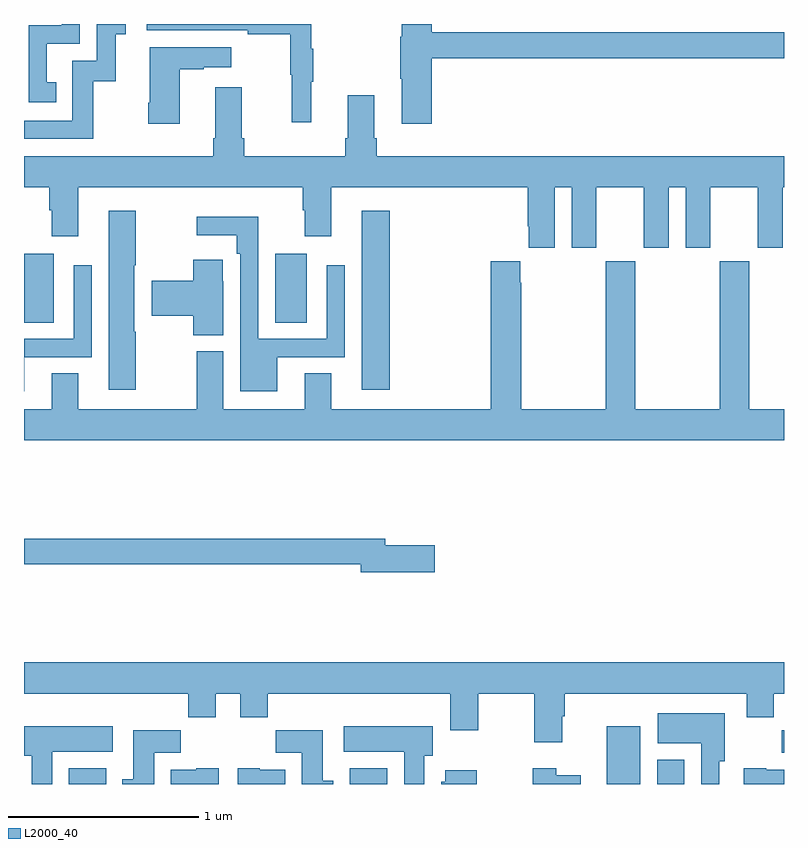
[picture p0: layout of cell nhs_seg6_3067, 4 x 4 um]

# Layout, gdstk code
import gdstk
lib = gdstk.Library(unit=1e-6, precision=1e-09)
def R(c, l, rs):  # rectangles x0, y0, x1, y1
    for r in rs: c.add(gdstk.rectangle(r[:2], r[2:], *l))
def P(c, l, *ps):  # polygons
    for p in ps: c.add(gdstk.Polygon(p, *l))
L2000_40 = (2000, 40)

nhs_seg6_3067 = lib.new_cell('nhs_seg6_3067')
R(nhs_seg6_3067, L2000_40, [(291.236,973.5,291.433,973.582), (292.715,973.5,292.912,973.582), (294.068,973.5,294.244,973.804), (294.332,973.5,294.475,973.627), (294.988,973.664,295,973.782), (292.778,975.576,292.925,976.516), (291,975.928,291.157,976.291), (292.322,975.928,292.489,976.291)])
P(nhs_seg6_3067, L2000_40, [(291.17,977.193),(291.121,977.193),(291.121,977.397),(291.294,977.397),(291.294,977.5),(291.198,977.5),(291.198,977.493),(291.024,977.493),(291.024,977.088),(291.17,977.088)],
  [(292.511,977.195),(292.522,977.195),(292.522,977.369),(292.511,977.369),(292.511,977.5),(291.645,977.5),(291.645,977.466),(292.177,977.466),(292.177,977.446),(292.401,977.446),(292.401,977.232),(292.408,977.232),(292.408,976.983),(292.511,976.983)],
  [(291.364,977.199),(291.482,977.199),(291.482,977.445),(291.535,977.445),(291.535,977.5),(291.384,977.5),(291.384,977.307),(291.255,977.307),(291.255,976.992),(291,976.992),(291,976.896),(291.364,976.896)],
  [(293.147,977.32),(295,977.32),(295,977.456),(293.147,977.456),(293.147,977.5),(292.988,977.5),(292.988,977.433),(292.981,977.433),(292.981,977.212),(292.988,977.212),(292.988,976.974),(293.147,976.974)],
  [(291.82,977.263),(291.947,977.263),(291.947,977.273),(292.09,977.273),(292.09,977.377),(291.662,977.377),(291.662,977.086),(291.655,977.086),(291.655,976.974),(291.82,976.974)],
  [(293.794,976.64),(293.882,976.64),(293.882,976.323),(294.013,976.323),(294.013,976.64),(294.263,976.64),(294.263,976.323),(294.394,976.323),(294.394,976.64),(294.482,976.64),(294.482,976.323),(294.613,976.323),(294.613,976.64),(294.863,976.64),(294.863,976.323),(294.994,976.323),(294.994,976.64),(295,976.64),(295,976.804),(292.856,976.804),(292.856,976.9),(292.843,976.9),(292.843,977.125),(292.703,977.125),(292.703,976.9),(292.691,976.9),(292.691,976.804),(292.16,976.804),(292.16,976.9),(292.147,976.9),(292.147,977.167),(292.007,977.167),(292.007,976.9),(291.995,976.9),(291.995,976.804),(291,976.804),(291,976.64),(291.134,976.64),(291.134,976.52),(291.146,976.52),(291.146,976.383),(291.286,976.383),(291.286,976.64),(292.466,976.64),(292.466,976.52),(292.478,976.52),(292.478,976.383),(292.618,976.383),(292.618,976.64),(293.651,976.64),(293.651,976.435),(293.657,976.435),(293.657,976.323),(293.794,976.323)],
  [(291.588,975.881),(291.58,975.881),(291.58,976.231),(291.588,976.231),(291.588,976.516),(291.446,976.516),(291.446,975.576),(291.588,975.576)],
  [(292.333,975.747),(292.689,975.747),(292.689,976.231),(292.593,976.231),(292.593,975.843),(292.233,975.843),(292.233,976.486),(291.909,976.486),(291.909,976.388),(292.121,976.388),(292.121,976.292),(292.137,976.292),(292.137,975.566),(292.333,975.566)],
  [(292.048,976.145),(292.047,976.145),(292.047,976.258),(291.892,976.258),(291.892,976.148),(291.672,976.148),(291.672,975.965),(291.892,975.965),(291.892,975.862),(292.048,975.862)],
  [(295,975.472),(294.816,975.472),(294.816,976.252),(294.661,976.252),(294.661,975.472),(294.216,975.472),(294.216,976.252),(294.061,976.252),(294.061,975.472),(293.616,975.472),(293.616,976.139),(293.611,976.139),(293.611,976.252),(293.456,976.252),(293.456,975.472),(292.618,975.472),(292.618,975.662),(292.478,975.662),(292.478,975.472),(292.048,975.472),(292.048,975.777),(291.91,975.777),(291.91,975.472),(291.286,975.472),(291.286,975.662),(291.146,975.662),(291.146,975.472),(291,975.472),(291,975.308),(295,975.308)],
  [(291.001,975.747),(291.357,975.747),(291.357,976.231),(291.261,976.231),(291.261,975.843),(291,975.843),(291,975.566),(291.001,975.566)],
  [(293.161,974.756),(292.9,974.756),(292.9,974.792),(291,974.792),(291,974.656),(292.772,974.656),(292.772,974.614),(293.161,974.614)],
  [(293.833,973.856),(293.846,973.856),(293.846,973.976),(294.803,973.976),(294.803,973.852),(294.947,973.852),(294.947,973.976),(295,973.976),(295,974.14),(291,974.14),(291,973.976),(291.865,973.976),(291.865,973.852),(292.009,973.852),(292.009,973.976),(292.139,973.976),(292.139,973.852),(292.283,973.852),(292.283,973.976),(293.243,973.976),(293.243,973.782),(293.391,973.782),(293.391,973.976),(293.686,973.976),(293.686,973.719),(293.833,973.719)],
  [(294.66,973.619),(294.688,973.619),(294.688,973.873),(294.336,973.873),(294.336,973.715),(294.564,973.715),(294.564,973.5),(294.66,973.5)],
  [(291.148,973.67),(291.466,973.67),(291.466,973.804),(291,973.804),(291,973.65),(291.041,973.65),(291.041,973.5),(291.148,973.5)],
  [(293.107,973.65),(293.152,973.65),(293.152,973.804),(292.683,973.804),(292.683,973.67),(293,973.67),(293,973.5),(293.107,973.5)],
  [(291.685,973.664),(291.824,973.664),(291.824,973.783),(291.575,973.783),(291.575,973.524),(291.518,973.524),(291.518,973.5),(291.685,973.5)],
  [(292.627,973.516),(292.573,973.516),(292.573,973.783),(292.324,973.783),(292.324,973.664),(292.463,973.664),(292.463,973.5),(292.627,973.5)],
  [(295,973.576),(294.906,973.576),(294.906,973.582),(294.788,973.582),(294.788,973.5),(295,973.5)],
  [(292.375,973.576),(292.242,973.576),(292.242,973.582),(292.124,973.582),(292.124,973.5),(292.375,973.5)],
  [(292.024,973.582),(291.906,973.582),(291.906,973.576),(291.773,973.576),(291.773,973.5),(292.024,973.5)],
  [(293.929,973.546),(293.8,973.546),(293.8,973.582),(293.678,973.582),(293.678,973.5),(293.929,973.5)],
  [(293.382,973.573),(293.216,973.573),(293.216,973.512),(293.195,973.512),(293.195,973.5),(293.382,973.5)])

lib.write_gds('nhs_seg6_3067.gds')
